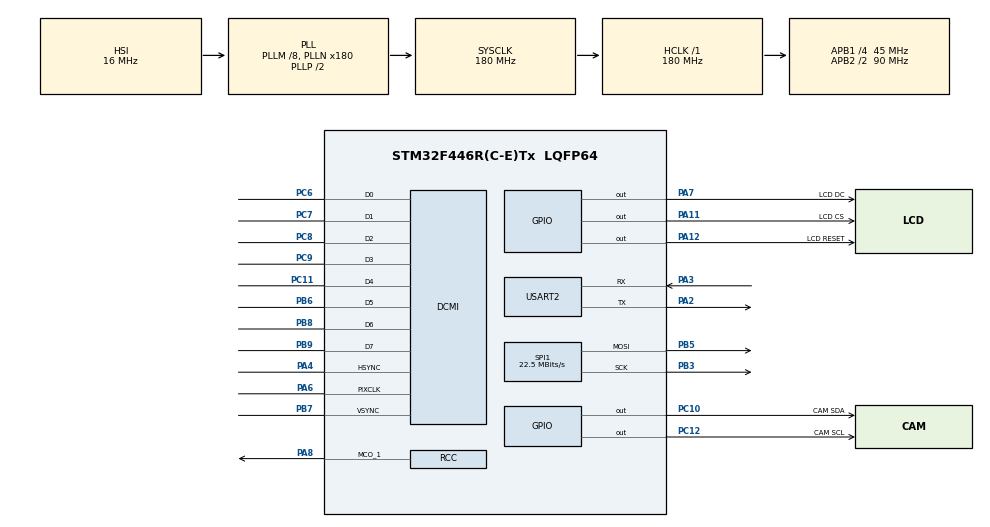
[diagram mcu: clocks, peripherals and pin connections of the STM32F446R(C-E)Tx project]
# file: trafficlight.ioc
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DCMI.HSPolarity=DCMI_HSPOLARITY_LOW
DCMI.PCKPolarity=DCMI_PCKPOLARITY_RISING
DCMI.VSPolarity=DCMI_VSPOLARITY_HIGH
Dma.DCMI.1.Direction=DMA_PERIPH_TO_MEMORY
Dma.DCMI.1.FIFOMode=DMA_FIFOMODE_DISABLE
Dma.DCMI.1.Instance=DMA2_Stream1
Dma.DCMI.1.MemDataAlignment=DMA_MDATAALIGN_WORD
Dma.DCMI.1.MemInc=DMA_MINC_ENABLE
Dma.DCMI.1.Mode=DMA_NORMAL
Dma.DCMI.1.PeriphDataAlignment=DMA_PDATAALIGN_WORD
Dma.DCMI.1.PeriphInc=DMA_PINC_DISABLE
Dma.DCMI.1.Priority=DMA_PRIORITY_HIGH
Dma.Request0=SPI1_TX
Dma.Request1=DCMI
Dma.SPI1_TX.0.Direction=DMA_MEMORY_TO_PERIPH
Dma.SPI1_TX.0.FIFOMode=DMA_FIFOMODE_DISABLE
Dma.SPI1_TX.0.Instance=DMA2_Stream3
Dma.SPI1_TX.0.MemDataAlignment=DMA_MDATAALIGN_BYTE
Dma.SPI1_TX.0.MemInc=DMA_MINC_ENABLE
Dma.SPI1_TX.0.Mode=DMA_NORMAL
Dma.SPI1_TX.0.PeriphDataAlignment=DMA_PDATAALIGN_BYTE
Dma.SPI1_TX.0.PeriphInc=DMA_PINC_DISABLE
Dma.SPI1_TX.0.Priority=DMA_PRIORITY_LOW
Mcu.Family=STM32F4
Mcu.Name=STM32F446R(C-E)Tx
Mcu.Package=LQFP64
NVIC.DCMI_IRQn=true\:0\:0\:false\:false\:true\:true\:true\:true
NVIC.DMA2_Stream1_IRQn=true\:0\:0\:false\:false\:true\:false\:true\:true
NVIC.DMA2_Stream3_IRQn=true\:0\:0\:false\:false\:true\:false\:true\:true
NVIC.PriorityGroup=NVIC_PRIORITYGROUP_4
NVIC.SPI1_IRQn=true\:0\:0\:false\:false\:true\:true\:true\:true
PA11.GPIO_Label=LCD CS
PA11.GPIO_Speed=GPIO_SPEED_FREQ_HIGH
PA11.PinState=GPIO_PIN_SET
PA11.Signal=GPIO_Output
PA12.GPIO_Label=LCD RESET
PA12.GPIO_Speed=GPIO_SPEED_FREQ_HIGH
PA12.PinState=GPIO_PIN_SET
PA12.Signal=GPIO_Output
PA13.Mode=Serial_Wire
PA13.Signal=SYS_JTMS-SWDIO
PA14.Mode=Serial_Wire
PA14.Signal=SYS_JTCK-SWCLK
PA2.Mode=Asynchronous
PA2.Signal=USART2_TX
PA3.Mode=Asynchronous
PA3.Signal=USART2_RX
PA4.Mode=Slave_8_bits_External_Synchro
PA4.Signal=DCMI_HSYNC
PA6.Mode=Slave_8_bits_External_Synchro
PA6.Signal=DCMI_PIXCLK
PA7.GPIO_Label=LCD DC
PA7.GPIO_Speed=GPIO_SPEED_FREQ_HIGH
PA7.PinState=GPIO_PIN_SET
PA7.Signal=GPIO_Output
PA8.GPIO_Speed=GPIO_SPEED_FREQ_VERY_HIGH
PA8.Mode=Clock-out-1
PA8.Signal=RCC_MCO_1
PB3.Mode=TX_Only_Simplex_Unidirect_Master
PB3.Signal=SPI1_SCK
PB5.Mode=TX_Only_Simplex_Unidirect_Master
PB5.Signal=SPI1_MOSI
PB6.Mode=Slave_8_bits_External_Synchro
PB6.Signal=DCMI_D5
PB7.Mode=Slave_8_bits_External_Synchro
PB7.Signal=DCMI_VSYNC
PB8.Mode=Slave_8_bits_External_Synchro
PB8.Signal=DCMI_D6
PB9.Mode=Slave_8_bits_External_Synchro
PB9.Signal=DCMI_D7
PC10.GPIO_Label=CAM SDA
PC10.GPIO_ModeDefaultOutputPP=GPIO_MODE_OUTPUT_OD
PC10.GPIO_PuPd=GPIO_PULLUP
PC10.GPIO_Speed=GPIO_SPEED_FREQ_HIGH
PC10.PinState=GPIO_PIN_SET
PC10.Signal=GPIO_Output
PC11.Mode=Slave_8_bits_External_Synchro
PC11.Signal=DCMI_D4
PC12.GPIO_Label=CAM SCL
PC12.GPIO_ModeDefaultOutputPP=GPIO_MODE_OUTPUT_PP
PC12.GPIO_PuPd=GPIO_PULLUP
PC12.GPIO_Speed=GPIO_SPEED_FREQ_HIGH
PC12.PinState=GPIO_PIN_SET
PC12.Signal=GPIO_Output
PC6.Mode=Slave_8_bits_External_Synchro
PC6.Signal=DCMI_D0
PC7.Mode=Slave_8_bits_External_Synchro
PC7.Signal=DCMI_D1
PC8.Mode=Slave_8_bits_External_Synchro
PC8.Signal=DCMI_D2
PC9.Mode=Slave_8_bits_External_Synchro
PC9.Signal=DCMI_D3
PH0-OSC_IN.Mode=HSE-External-Clock-Source
PH0-OSC_IN.Signal=RCC_OSC_IN
PH1-OSC_OUT.Mode=HSE-External-Clock-Source
PH1-OSC_OUT.Signal=RCC_OSC_OUT
ProjectManager.HeapSize=0x200
ProjectManager.StackSize=0x400
ProjectManager.TargetToolchain=STM32CubeIDE
RCC.AHBFreq_Value=180000000
RCC.APB1CLKDivider=RCC_HCLK_DIV4
RCC.APB1Freq_Value=45000000
RCC.APB1TimFreq_Value=90000000
RCC.APB2CLKDivider=RCC_HCLK_DIV2
RCC.APB2Freq_Value=90000000
RCC.APB2TimFreq_Value=180000000
RCC.CortexFreq_Value=180000000
RCC.HCLKFreq_Value=180000000
RCC.PLLM=8
RCC.PLLN=180
RCC.SYSCLKFreq_VALUE=180000000
RCC.SYSCLKSource=RCC_SYSCLKSOURCE_PLLCLK
RCC.USBFreq_Value=180000000
RCC.VCOOutputFreq_Value=360000000
SPI1.BaudRatePrescaler=SPI_BAUDRATEPRESCALER_4
SPI1.CalculateBaudRate=22.5 MBits/s
SPI1.Direction=SPI_DIRECTION_2LINES
SPI1.Mode=SPI_MODE_MASTER
SPI1.VirtualType=VM_MASTER
STMicroelectronics.X-CUBE-AI.10.2.0.ActivationBufferSizeList=29676
STMicroelectronics.X-CUBE-AI.10.2.0.ActivationBuffers=pool0
STMicroelectronics.X-CUBE-AI.10.2.0.ActivationNames=pool0
STMicroelectronics.X-CUBE-AI.10.2.0.ActivationSizes=AI_NETWORK_DATA_ACTIVATION_1_SIZE
STMicroelectronics.X-CUBE-AI.10.2.0.ApplicationCcDeviceJjApplication=ApplicationTemplate
STMicroelectronics.X-CUBE-AI.10.2.0.HeapSize=0x800
STMicroelectronics.X-CUBE-AI.10.2.0.InternalRamActivationBufferMaxSize=AI_NETWORK_DATA_ACTIVATIONS_SIZE
STMicroelectronics.X-CUBE-AI.10.2.0.LatestDirectoryUsed-4485f11a7c7d418da0951133ddff1e88fbf72ac43adda4fc415b44abdd06dac7=C\:\\Users\\jonah\\Downloads
STMicroelectronics.X-CUBE-AI.10.2.0.MaximumNumberOfInputLayer=1
STMicroelectronics.X-CUBE-AI.10.2.0.MaximumNumberOfOutputLayer=1
STMicroelectronics.X-CUBE-AI.10.2.0.MaximumSizeOfInputLayer=1
STMicroelectronics.X-CUBE-AI.10.2.0.MaximumSizeOfOutputLayer=1
STMicroelectronics.X-CUBE-AI.10.2.0.ModelActualCompression-4485f11a7c7d418da0951133ddff1e88fbf72ac43adda4fc415b44abdd06dac7=0.0
STMicroelectronics.X-CUBE-AI.10.2.0.ModelCompression-4485f11a7c7d418da0951133ddff1e88fbf72ac43adda4fc415b44abdd06dac7=None
STMicroelectronics.X-CUBE-AI.10.2.0.ModelFlashOccupation-4485f11a7c7d418da0951133ddff1e88fbf72ac43adda4fc415b44abdd06dac7=187105
STMicroelectronics.X-CUBE-AI.10.2.0.ModelHashList=4485f11a7c7d418da0951133ddff1e88fbf72ac43adda4fc415b44abdd06dac7
STMicroelectronics.X-CUBE-AI.10.2.0.ModelKind-4485f11a7c7d418da0951133ddff1e88fbf72ac43adda4fc415b44abdd06dac7=TFLITE
STMicroelectronics.X-CUBE-AI.10.2.0.ModelMacc-4485f11a7c7d418da0951133ddff1e88fbf72ac43adda4fc415b44abdd06dac7=7905448
STMicroelectronics.X-CUBE-AI.10.2.0.ModelName-4485f11a7c7d418da0951133ddff1e88fbf72ac43adda4fc415b44abdd06dac7=network
STMicroelectronics.X-CUBE-AI.10.2.0.ModelNameList=network
STMicroelectronics.X-CUBE-AI.10.2.0.ModelRamOccupation-4485f11a7c7d418da0951133ddff1e88fbf72ac43adda4fc415b44abdd06dac7=29676
STMicroelectronics.X-CUBE-AI.10.2.0.ModelStructureFile-4485f11a7c7d418da0951133ddff1e88fbf72ac43adda4fc415b44abdd06dac7=C\:\\Users\\jonah\\Downloads\\sign_v2_int8.tflite
STMicroelectronics.X-CUBE-AI.10.2.0.ModelType-4485f11a7c7d418da0951133ddff1e88fbf72ac43adda4fc415b44abdd06dac7=STM32Cube.AI MCU runtime
STMicroelectronics.X-CUBE-AI.10.2.0.ReadyForCodeGeneration=true
STMicroelectronics.X-CUBE-AI.10.2.0.StackSize=0x800
STMicroelectronics.X-CUBE-AI.10.2.0.WorkingBufferStartAddrList=0xFFFFFFFF
STMicroelectronics.X-CUBE-AI.10.2.0.XAaCUBEAaAICcArtificialOoIntelligenceJjCore=true
STMicroelectronics.X-CUBE-AI.10.2.0.copyWeightToRam-4485f11a7c7d418da0951133ddff1e88fbf72ac43adda4fc415b44abdd06dac7=false
STMicroelectronics.X-CUBE-AI.10.2.0.customLayerConfigEnabled-4485f11a7c7d418da0951133ddff1e88fbf72ac43adda4fc415b44abdd06dac7=false
STMicroelectronics.X-CUBE-AI.10.2.0.noOnnxIoTranspose-4485f11a7c7d418da0951133ddff1e88fbf72ac43adda4fc415b44abdd06dac7=false
STMicroelectronics.X-CUBE-AI.10.2.0.useInputAllocation-4485f11a7c7d418da0951133ddff1e88fbf72ac43adda4fc415b44abdd06dac7=true
STMicroelectronics.X-CUBE-AI.10.2.0.useOutputAllocation-4485f11a7c7d418da0951133ddff1e88fbf72ac43adda4fc415b44abdd06dac7=true
USART2.VirtualMode=VM_ASYNC
VP_CRC_VS_CRC.Mode=CRC_Activate
VP_STMicroelectronics.X-CUBE-AI_VS_ArtificialOoIntelligenceJjXAaCUBEAaAI_10.2.0.Mode=ArtificialOoIntelligenceJjXAaCUBEAaAI
VP_STMicroelectronics.X-CUBE-AI_VS_DeviceJjApplication_10.2.0.Mode=DeviceJjApplication
board=custom

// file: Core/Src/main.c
/* USER CODE BEGIN Header */
/**
  ******************************************************************************
  * @file           : main.c
  * @brief          : Real-Time Embedded Traffic Sign Recognition Pipeline
  *                   (STM32F446RE + OV7670 DCMI/DMA + X-CUBE-AI INT8 + ST7735)
  ******************************************************************************
  * @attention
  *
  * Copyright (c) 2026 STMicroelectronics.
  * All rights reserved.
  *
  * This software is licensed under terms that can be found in the LICENSE file
  * in the root directory of this software component.
  * If no LICENSE file comes with this software, it is provided AS-IS.
  *
  ******************************************************************************
  */
/* USER CODE END Header */
#include "main.h"
#include "app_x-cube-ai.h"

/* USER CODE BEGIN Includes */
#include <stdio.h>
#include "sccb.h"
#include "ov7670.h"
#include "st7735.h"
#include "network.h"
#include "network_data.h"
/* USER CODE END Includes */

/* USER CODE BEGIN PD */
#define CAM_W               128
#define CAM_H               120
#define CAM_FRAME_WORDS     ((CAM_W * CAM_H * 2) / 4) /* 7,680 32-bit words (30,720 bytes) */

#define ROI_X_OFFSET        16
#define ROI_Y_OFFSET        12
#define ROI_SIZE            96

#define MODEL_IMG_W         48
#define MODEL_IMG_H         48
/* USER CODE END PD */

CRC_HandleTypeDef hcrc;

DCMI_HandleTypeDef hdcmi;
DMA_HandleTypeDef hdma_dcmi;

SPI_HandleTypeDef hspi1;
DMA_HandleTypeDef hdma_spi1_tx;

UART_HandleTypeDef huart2;

/* USER CODE BEGIN PV */
/* 128x120 RGB565 frame buffer (30,720 bytes) */
uint32_t frame_buffer[CAM_FRAME_WORDS];

/* X-CUBE-AI aligned activation scratchpad and I/O tensor buffers */
static ai_handle gtsrb_network = AI_HANDLE_NULL;
AI_ALIGNED(32) static ai_u8 ai_activations[AI_NETWORK_DATA_ACTIVATIONS_SIZE];
AI_ALIGNED(32) static ai_u8 ai_in_data[AI_NETWORK_IN_1_SIZE_BYTES];
AI_ALIGNED(32) static ai_u8 ai_out_data[AI_NETWORK_OUT_1_SIZE_BYTES];

static ai_buffer ai_input_buf[1];
static ai_buffer ai_output_buf[1];

/* Dedicated 128x20 RGB565 buffer for the top UI banner (5,120 bytes) */
static uint8_t banner_buf[128 * 20 * 2];
/* USER CODE END PV */

void SystemClock_Config(void);
static void MX_GPIO_Init(void);
static void MX_DMA_Init(void);
static void MX_SPI1_Init(void);
static void MX_USART2_UART_Init(void);
static void MX_DCMI_Init(void);
static void MX_CRC_Init(void);
/* USER CODE BEGIN PFP */
const char* GTSRB_GetLabel(int class_id);
void GTSRB_AI_Init(void);
void GTSRB_Preprocess_Frame(const uint16_t *src_rgb565);
int  GTSRB_Run_Inference(int *out_confidence);
void LCD_Draw_ROI_Box(uint8_t *fb_bytes);
void LCD_Draw_Sign_Banner(int class_id, int confidence);
/* USER CODE END PFP */

/* USER CODE BEGIN 0 */

/* Compact 5x7 ASCII bitmap font (printable characters 32 ' ' to 90 'Z') */
static const uint8_t font5x7[][5] = {
    {0x00,0x00,0x00,0x00,0x00}, {0x00,0x00,0x5F,0x00,0x00}, {0x00,0x07,0x00,0x07,0x00},
    {0x14,0x7F,0x14,0x7F,0x14}, {0x24,0x2A,0x7F,0x2A,0x12}, {0x23,0x13,0x08,0x64,0x62},
    {0x36,0x49,0x55,0x22,0x50}, {0x00,0x05,0x03,0x00,0x00}, {0x00,0x1C,0x22,0x41,0x00},
    {0x00,0x41,0x22,0x1C,0x00}, {0x14,0x08,0x3E,0x08,0x14}, {0x08,0x08,0x3E,0x08,0x08},
    {0x00,0x50,0x30,0x00,0x00}, {0x08,0x08,0x08,0x08,0x08}, {0x00,0x60,0x60,0x00,0x00},
    {0x20,0x10,0x08,0x04,0x02}, {0x3E,0x51,0x49,0x45,0x3E}, {0x00,0x42,0x7F,0x40,0x00},
    {0x42,0x61,0x51,0x49,0x46}, {0x21,0x41,0x45,0x4B,0x31}, {0x18,0x14,0x12,0x7F,0x10},
    {0x27,0x45,0x45,0x45,0x39}, {0x3C,0x4A,0x49,0x49,0x30}, {0x01,0x71,0x09,0x05,0x03},
    {0x36,0x49,0x49,0x49,0x36}, {0x06,0x49,0x49,0x29,0x1E}, {0x00,0x36,0x36,0x00,0x00},
    {0x00,0x56,0x36,0x00,0x00}, {0x08,0x14,0x22,0x41,0x00}, {0x14,0x14,0x14,0x14,0x14},
    {0x00,0x41,0x22,0x14,0x08}, {0x02,0x01,0x51,0x09,0x06}, {0x32,0x49,0x79,0x41,0x3E},
    {0x7E,0x11,0x11,0x11,0x7E}, {0x7F,0x49,0x49,0x49,0x36}, {0x3E,0x41,0x41,0x41,0x22},
    {0x7F,0x41,0x41,0x22,0x1C}, {0x7F,0x49,0x49,0x49,0x41}, {0x7F,0x09,0x09,0x09,0x01},
    {0x3E,0x41,0x49,0x49,0x7A}, {0x7F,0x08,0x08,0x08,0x7F}, {0x00,0x41,0x7F,0x41,0x00},
    {0x20,0x40,0x41,0x3F,0x01}, {0x7F,0x08,0x14,0x22,0x41}, {0x7F,0x40,0x40,0x40,0x40},
    {0x7F,0x02,0x0C,0x02,0x7F}, {0x7F,0x04,0x08,0x10,0x7F}, {0x3E,0x41,0x41,0x41,0x3E},
    {0x7F,0x09,0x09,0x09,0x06}, {0x3E,0x41,0x51,0x21,0x5E}, {0x7F,0x09,0x19,0x29,0x46},
    {0x46,0x49,0x49,0x49,0x31}, {0x01,0x01,0x7F,0x01,0x01}, {0x3F,0x40,0x40,0x40,0x3F},
    {0x1F,0x20,0x40,0x20,0x1F}, {0x3F,0x40,0x38,0x40,0x3F}, {0x63,0x14,0x08,0x14,0x63},
    {0x07,0x08,0x70,0x08,0x07}, {0x61,0x51,0x49,0x45,0x43}
};

/**
 * @brief Maps GTSRB class indices (0..42) to human-readable traffic sign labels.
 */
const char* GTSRB_GetLabel(int class_id) {
    static const char* labels[43] = {
        "20 km/h", "30 km/h", "50 km/h", "60 km/h", "70 km/h",
        "80 km/h", "End 80", "100 km/h", "120 km/h", "No Passing",
        "No Pass >3.5t", "Right of Way", "Priority Road", "Yield", "STOP",
        "No Vehicles", "No >3.5t", "No Entry", "General Caution", "Curve Left",
        "Curve Right", "Double Curve", "Bumpy Road", "Slippery Road", "Road Narrows",
        "Road Work", "Traffic Signals", "Pedestrians", "Children", "Bicycles",
        "Beware Ice/Snow", "Wild Animals", "End Limits", "Turn Right", "Turn Left",
        "Ahead Only", "Straight/Right", "Straight/Left", "Keep Right", "Keep Left",
        "Roundabout", "End No Passing", "End No Pass >3.5t"
    };
    if (class_id >= 0 && class_id < 43) {
        return labels[class_id];
    }
    return "Unknown";
}

/**
 * @brief Initializes the quantized INT8 CNN in X-CUBE-AI and binds I/O tensor buffers.
 */
void GTSRB_AI_Init(void) {
    __HAL_RCC_CRC_CLK_ENABLE();

    const ai_handle act_addr[] = { ai_activations };
    ai_error err = ai_network_create_and_init(&gtsrb_network, act_addr, NULL);
    if (err.type != AI_ERROR_NONE) {
        printf("AI Init Error: type=%d, code=%d\r\n", err.type, err.code);
        return;
    }

    const ai_buffer *in_desc  = ai_network_inputs_get(gtsrb_network, NULL);
    const ai_buffer *out_desc = ai_network_outputs_get(gtsrb_network, NULL);
    ai_input_buf[0]  = in_desc[0];
    ai_output_buf[0] = out_desc[0];

    ai_input_buf[0].data  = AI_HANDLE_PTR(ai_in_data);
    ai_output_buf[0].data = AI_HANDLE_PTR(ai_out_data);
}

/**
 * @brief Downsamples the centered 96x96 RGB565 ROI to 48x48 RGB888 using a 2x2
 *        box filter and quantizes pixels to signed INT8 [-128, 127].
 */
void GTSRB_Preprocess_Frame(const uint16_t *src_rgb565) {
    int8_t *dst_i8 = (int8_t *)ai_in_data;
    uint32_t idx = 0;

    for (int y = 0; y < MODEL_IMG_H; y++) {
        int sy = ROI_Y_OFFSET + (y * 2);
        for (int x = 0; x < MODEL_IMG_W; x++) {
            int sx = ROI_X_OFFSET + (x * 2);

            uint32_t sr = 0, sg = 0, sb = 0;
            for (int dy = 0; dy < 2; dy++) {
                for (int dx = 0; dx < 2; dx++) {
                    const uint8_t *p = (const uint8_t *)&src_rgb565[(sy + dy) * CAM_W + (sx + dx)];
                    uint16_t pix = ((uint16_t)p[0] << 8) | p[1];

                    sr += ((pix >> 11) & 0x1F) << 3;
                    sg += ((pix >> 5)  & 0x3F) << 2;
                    sb += ( pix        & 0x1F) << 3;
                }
            }

            int r = (int)(sr >> 2);
            int g = (int)(sg >> 2);
            int b = (int)(sb >> 2);

            dst_i8[idx++] = (int8_t)(r - 128);
            dst_i8[idx++] = (int8_t)(g - 128);
            dst_i8[idx++] = (int8_t)(b - 128);
        }
    }
}

/**
 * @brief Executes forward pass and returns predicted class index and confidence (0..100%).
 */
int GTSRB_Run_Inference(int *out_confidence) {
    ai_i32 batch = ai_network_run(gtsrb_network, &ai_input_buf[0], &ai_output_buf[0]);
    if (batch != 1) {
        ai_error err = ai_network_get_error(gtsrb_network);
        printf("AI Run Error: code=%d, type=%d\r\n", err.code, err.type);
        return -1;
    }

    const int8_t *out = (const int8_t *)ai_out_data;
    uint32_t best = 0;
    for (uint32_t i = 1; i < AI_NETWORK_OUT_1_SIZE; i++) {
        if (out[i] > out[best]) {
            best = i;
        }
    }

    const ai_buffer_meta_info *mi = ai_output_buf[0].meta_info;
    float scale = AI_BUFFER_META_INFO_INTQ_GET_SCALE(mi, 0);
    int zp      = AI_BUFFER_META_INFO_INTQ_GET_ZEROPOINT(mi, 0);

    float prob = ((int)out[best] - zp) * scale;
    int conf   = (int)(prob * 100.0f);
    if (conf < 0)   conf = 0;
    if (conf > 100) conf = 100;

    *out_confidence = conf;
    return (int)best;
}

/**
 * @brief Draws a 1-pixel green targeting box around the 96x96 ROI on the LCD frame.
 */
void LCD_Draw_ROI_Box(uint8_t *fb_bytes) {
    const int x0 = ROI_X_OFFSET;
    const int x1 = ROI_X_OFFSET + ROI_SIZE - 1;
    const int y0 = ROI_Y_OFFSET;
    const int y1 = ROI_Y_OFFSET + ROI_SIZE - 1;

    for (int x = x0; x <= x1; x++) {
        fb_bytes[(y0 * CAM_W + x) * 2]     = 0x07;
        fb_bytes[(y0 * CAM_W + x) * 2 + 1] = 0xE0;
        fb_bytes[(y1 * CAM_W + x) * 2]     = 0x07;
        fb_bytes[(y1 * CAM_W + x) * 2 + 1] = 0xE0;
    }
    for (int y = y0; y <= y1; y++) {
        fb_bytes[(y * CAM_W + x0) * 2]     = 0x07;
        fb_bytes[(y * CAM_W + x0) * 2 + 1] = 0xE0;
        fb_bytes[(y * CAM_W + x1) * 2]     = 0x07;
        fb_bytes[(y * CAM_W + x1) * 2 + 1] = 0xE0;
    }
}

/**
 * @brief Renders the classification label and confidence into the top 128x20 LCD bar.
 */
void LCD_Draw_Sign_Banner(int class_id, int confidence) {
    char text[24];
    uint16_t bg_color = 0x0000;
    uint16_t fg_color = 0xFFFF;

    if (class_id >= 0 && confidence >= 50) {
        snprintf(text, sizeof(text), "%s %d%%", GTSRB_GetLabel(class_id), confidence);
        bg_color = (confidence >= 75) ? 0x0320 : 0x4200;
        fg_color = 0xFFFF;
    } else {
        snprintf(text, sizeof(text), "SCANNING...");
        bg_color = 0x0000;
        fg_color = 0x07E0;
    }

    uint8_t bg_hi = (uint8_t)(bg_color >> 8), bg_lo = (uint8_t)(bg_color & 0xFF);
    uint8_t fg_hi = (uint8_t)(fg_color >> 8), fg_lo = (uint8_t)(fg_color & 0xFF);

    for (int i = 0; i < 128 * 20; i++) {
        banner_buf[i * 2]     = bg_hi;
        banner_buf[i * 2 + 1] = bg_lo;
    }

    int cursor_x = 4;
    const int start_y = 6;

    for (int i = 0; text[i] != '\0' && (cursor_x + 6) < 128; i++) {
        char c = text[i];
        if (c >= 'a' && c <= 'z') c -= 32;
        if (c < 32 || c > 90) c = ' ';

        const uint8_t *glyph = font5x7[c - 32];
        for (int col = 0; col < 5; col++) {
            uint8_t bits = glyph[col];
            for (int row = 0; row < 7; row++) {
                if (bits & (1 << row)) {
                    int px = (start_y + row) * 128 + (cursor_x + col);
                    banner_buf[px * 2]     = fg_hi;
                    banner_buf[px * 2 + 1] = fg_lo;
                }
            }
        }
        cursor_x += 6;
    }

    ST7735_DrawBufferDMA(0, 0, 128, 20, banner_buf);
    uint32_t t0 = HAL_GetTick();
    while (ST7735_IsBusy()) {
        if ((HAL_GetTick() - t0) > 50) break;
    }
}

#ifdef __GNUC__
  #define PUTCHAR_PROTOTYPE int __io_putchar(int ch)
#else
  #define PUTCHAR_PROTOTYPE int fputc(int ch, FILE *f)
#endif

PUTCHAR_PROTOTYPE {
    HAL_UART_Transmit(&huart2, (uint8_t *)&ch, 1, 0xFFFF);
    return ch;
}

/* USER CODE END 0 */

int main(void)
{

  /* MCU Configuration--------------------------------------------------------*/

  /* Reset of all peripherals, Initializes the Flash interface and the Systick. */
  HAL_Init();

  /* Configure the system clock */
  SystemClock_Config();

  /* Initialize all configured peripherals */
  MX_GPIO_Init();
  MX_DMA_Init();
  MX_SPI1_Init();
  MX_USART2_UART_Init();
  MX_DCMI_Init();
  MX_CRC_Init();

  /* USER CODE BEGIN 2 */
  /* Enforce DCMI Synchronization Polarities */
  hdcmi.Init.VSPolarity  = DCMI_VSPOLARITY_HIGH;
  hdcmi.Init.HSPolarity  = DCMI_HSPOLARITY_LOW;
  hdcmi.Init.PCKPolarity = DCMI_PCKPOLARITY_RISING;
  HAL_DCMI_Init(&hdcmi);

  /* Set DCMI DMA2 Stream1 to VERY_HIGH priority to prevent AHB overrun against SPI1 */
  HAL_DMA_DeInit(&hdma_dcmi);
  hdma_dcmi.Init.Mode                = DMA_NORMAL;
  hdma_dcmi.Init.Priority            = DMA_PRIORITY_VERY_HIGH;
  hdma_dcmi.Init.FIFOMode            = DMA_FIFOMODE_DISABLE;
  hdma_dcmi.Init.MemDataAlignment    = DMA_MDATAALIGN_WORD;
  hdma_dcmi.Init.PeriphDataAlignment = DMA_PDATAALIGN_WORD;
  HAL_DMA_Init(&hdma_dcmi);

  ST7735_Init();
  SCCB_Init();
  OV7670_Init();

  /* Hardware crop 160x120 QQVGA stream to 128x120 RGB565 (256 bytes/line) */
  HAL_DCMI_ConfigCrop(&hdcmi, 32, 0, 255, 119);
  HAL_DCMI_EnableCrop(&hdcmi);

  GTSRB_AI_Init();
  /* USER CODE END 2 */

  /* Infinite loop */
  /* USER CODE BEGIN WHILE */
  while (1)
  {
      /* 1. Capture single 128x120 RGB565 frame via DCMI DMA */
      HAL_DCMI_Stop(&hdcmi);
      __HAL_DCMI_CLEAR_FLAG(&hdcmi, DCMI_FLAG_FRAMERI | DCMI_FLAG_OVRRI |
                                    DCMI_FLAG_ERRRI   | DCMI_FLAG_VSYNCRI |
                                    DCMI_FLAG_LINERI);

      HAL_DCMI_Start_DMA(&hdcmi, DCMI_MODE_SNAPSHOT, (uint32_t)frame_buffer, CAM_FRAME_WORDS);

      uint32_t tickstart = HAL_GetTick();
      while (hdma_dcmi.Instance->NDTR > 0) {
          if ((HAL_GetTick() - tickstart) > 500) {
              break;
          }
      }
      HAL_DCMI_Stop(&hdcmi);

      /* 2. Preprocess 96x96 ROI into 48x48x3 INT8 input tensor before drawing UI overlay */
      GTSRB_Preprocess_Frame((const uint16_t *)frame_buffer);

      /* 3. Draw ROI targeting overlay and stream video buffer to ST7735 via SPI1 DMA */
      LCD_Draw_ROI_Box((uint8_t *)frame_buffer);
      ST7735_DrawBufferDMA(0, 20, CAM_W, CAM_H, (uint8_t *)frame_buffer);

      uint32_t spi_tick = HAL_GetTick();
      while (ST7735_IsBusy()) {
          if ((HAL_GetTick() - spi_tick) > 200) {
              break;
          }
      }

      /* 4. Execute CNN inference and update top LCD banner + UART telemetry */
      int confidence = 0;
      uint32_t t0 = HAL_GetTick();
      int class_id = GTSRB_Run_Inference(&confidence);
      uint32_t dt = HAL_GetTick() - t0;

      printf("Sign: [%2d] %-16s | Conf: %3d%% | Time: %lu ms\r\n",
             class_id, GTSRB_GetLabel(class_id), confidence, dt);

      LCD_Draw_Sign_Banner(class_id, confidence);
    /* USER CODE END WHILE */

  }
}

void SystemClock_Config(void)
{
  RCC_OscInitTypeDef RCC_OscInitStruct = {0};
  RCC_ClkInitTypeDef RCC_ClkInitStruct = {0};

  /** Configure the main internal regulator output voltage
  */
  __HAL_RCC_PWR_CLK_ENABLE();
  __HAL_PWR_VOLTAGESCALING_CONFIG(PWR_REGULATOR_VOLTAGE_SCALE1);

  /** Initializes the RCC Oscillators according to the specified parameters
  * in the RCC_OscInitTypeDef structure.
  */
  RCC_OscInitStruct.OscillatorType = RCC_OSCILLATORTYPE_HSI;
  RCC_OscInitStruct.HSIState = RCC_HSI_ON;
  RCC_OscInitStruct.HSICalibrationValue = RCC_HSICALIBRATION_DEFAULT;
  RCC_OscInitStruct.PLL.PLLState = RCC_PLL_ON;
  RCC_OscInitStruct.PLL.PLLSource = RCC_PLLSOURCE_HSI;
  RCC_OscInitStruct.PLL.PLLM = 8;
  RCC_OscInitStruct.PLL.PLLN = 180;
  RCC_OscInitStruct.PLL.PLLP = RCC_PLLP_DIV2;
  RCC_OscInitStruct.PLL.PLLQ = 2;
  RCC_OscInitStruct.PLL.PLLR = 2;
  if (HAL_RCC_OscConfig(&RCC_OscInitStruct) != HAL_OK)
  {
    Error_Handler();
  }

  /** Activate the Over-Drive mode
  */
  if (HAL_PWREx_EnableOverDrive() != HAL_OK)
  {
    Error_Handler();
  }

  /** Initializes the CPU, AHB and APB buses clocks
  */
  RCC_ClkInitStruct.ClockType = RCC_CLOCKTYPE_HCLK|RCC_CLOCKTYPE_SYSCLK
                              |RCC_CLOCKTYPE_PCLK1|RCC_CLOCKTYPE_PCLK2;
  RCC_ClkInitStruct.SYSCLKSource = RCC_SYSCLKSOURCE_PLLCLK;
  RCC_ClkInitStruct.AHBCLKDivider = RCC_SYSCLK_DIV1;
  RCC_ClkInitStruct.APB1CLKDivider = RCC_HCLK_DIV4;
  RCC_ClkInitStruct.APB2CLKDivider = RCC_HCLK_DIV2;

  if (HAL_RCC_ClockConfig(&RCC_ClkInitStruct, FLASH_LATENCY_5) != HAL_OK)
  {
    Error_Handler();
  }
  HAL_RCC_MCOConfig(RCC_MCO1, RCC_MCO1SOURCE_HSI, RCC_MCODIV_1);
}

static void MX_CRC_Init(void)
{

  hcrc.Instance = CRC;
  if (HAL_CRC_Init(&hcrc) != HAL_OK)
  {
    Error_Handler();
  }

}

static void MX_DCMI_Init(void)
{

  hdcmi.Instance = DCMI;
  hdcmi.Init.SynchroMode = DCMI_SYNCHRO_HARDWARE;
  hdcmi.Init.PCKPolarity = DCMI_PCKPOLARITY_RISING;
  hdcmi.Init.VSPolarity = DCMI_VSPOLARITY_HIGH;
  hdcmi.Init.HSPolarity = DCMI_HSPOLARITY_LOW;
  hdcmi.Init.CaptureRate = DCMI_CR_ALL_FRAME;
  hdcmi.Init.ExtendedDataMode = DCMI_EXTEND_DATA_8B;
  hdcmi.Init.JPEGMode = DCMI_JPEG_DISABLE;
  hdcmi.Init.ByteSelectMode = DCMI_BSM_ALL;
  hdcmi.Init.ByteSelectStart = DCMI_OEBS_ODD;
  hdcmi.Init.LineSelectMode = DCMI_LSM_ALL;
  hdcmi.Init.LineSelectStart = DCMI_OELS_ODD;
  if (HAL_DCMI_Init(&hdcmi) != HAL_OK)
  {
    Error_Handler();
  }

}

static void MX_SPI1_Init(void)
{

  /* SPI1 parameter configuration*/
  hspi1.Instance = SPI1;
  hspi1.Init.Mode = SPI_MODE_MASTER;
  hspi1.Init.Direction = SPI_DIRECTION_2LINES;
  hspi1.Init.DataSize = SPI_DATASIZE_8BIT;
  hspi1.Init.CLKPolarity = SPI_POLARITY_LOW;
  hspi1.Init.CLKPhase = SPI_PHASE_1EDGE;
  hspi1.Init.NSS = SPI_NSS_SOFT;
  hspi1.Init.BaudRatePrescaler = SPI_BAUDRATEPRESCALER_4;
  hspi1.Init.FirstBit = SPI_FIRSTBIT_MSB;
  hspi1.Init.TIMode = SPI_TIMODE_DISABLE;
  hspi1.Init.CRCCalculation = SPI_CRCCALCULATION_DISABLE;
  hspi1.Init.CRCPolynomial = 10;
  if (HAL_SPI_Init(&hspi1) != HAL_OK)
  {
    Error_Handler();
  }

}

static void MX_USART2_UART_Init(void)
{

  huart2.Instance = USART2;
  huart2.Init.BaudRate = 115200;
  huart2.Init.WordLength = UART_WORDLENGTH_8B;
  huart2.Init.StopBits = UART_STOPBITS_1;
  huart2.Init.Parity = UART_PARITY_NONE;
  huart2.Init.Mode = UART_MODE_TX_RX;
  huart2.Init.HwFlowCtl = UART_HWCONTROL_NONE;
  huart2.Init.OverSampling = UART_OVERSAMPLING_16;
  if (HAL_UART_Init(&huart2) != HAL_OK)
  {
    Error_Handler();
  }

}

static void MX_DMA_Init(void)
{

  /* DMA controller clock enable */
  __HAL_RCC_DMA2_CLK_ENABLE();

  /* DMA interrupt init */
  /* DMA2_Stream1_IRQn interrupt configuration */
  HAL_NVIC_SetPriority(DMA2_Stream1_IRQn, 0, 0);
  HAL_NVIC_EnableIRQ(DMA2_Stream1_IRQn);
  /* DMA2_Stream3_IRQn interrupt configuration */
  HAL_NVIC_SetPriority(DMA2_Stream3_IRQn, 0, 0);
  HAL_NVIC_EnableIRQ(DMA2_Stream3_IRQn);

}

static void MX_GPIO_Init(void)
{
  GPIO_InitTypeDef GPIO_InitStruct = {0};

  /* GPIO Ports Clock Enable */
  __HAL_RCC_GPIOH_CLK_ENABLE();
  __HAL_RCC_GPIOA_CLK_ENABLE();
  __HAL_RCC_GPIOC_CLK_ENABLE();
  __HAL_RCC_GPIOB_CLK_ENABLE();

  /*Configure GPIO pin Output Level */
  HAL_GPIO_WritePin(GPIOA, LCD_DC_Pin|LCD_CS_Pin|LCD_RESET_Pin, GPIO_PIN_SET);

  /*Configure GPIO pin Output Level */
  HAL_GPIO_WritePin(GPIOC, CAM_SDA_Pin|CAM_SCL_Pin, GPIO_PIN_SET);

  /*Configure GPIO pins : LCD_DC_Pin LCD_CS_Pin LCD_RESET_Pin */
  GPIO_InitStruct.Pin = LCD_DC_Pin|LCD_CS_Pin|LCD_RESET_Pin;
  GPIO_InitStruct.Mode = GPIO_MODE_OUTPUT_PP;
  GPIO_InitStruct.Pull = GPIO_NOPULL;
  GPIO_InitStruct.Speed = GPIO_SPEED_FREQ_HIGH;
  HAL_GPIO_Init(GPIOA, &GPIO_InitStruct);

  /*Configure GPIO pin : PA8 */
  GPIO_InitStruct.Pin = GPIO_PIN_8;
  GPIO_InitStruct.Mode = GPIO_MODE_AF_PP;
  GPIO_InitStruct.Pull = GPIO_NOPULL;
  GPIO_InitStruct.Speed = GPIO_SPEED_FREQ_VERY_HIGH;
  GPIO_InitStruct.Alternate = GPIO_AF0_MCO;
  HAL_GPIO_Init(GPIOA, &GPIO_InitStruct);

  /*Configure GPIO pin : CAM_SDA_Pin */
  GPIO_InitStruct.Pin = CAM_SDA_Pin;
  GPIO_InitStruct.Mode = GPIO_MODE_OUTPUT_OD;
  GPIO_InitStruct.Pull = GPIO_PULLUP;
  GPIO_InitStruct.Speed = GPIO_SPEED_FREQ_HIGH;
  HAL_GPIO_Init(CAM_SDA_GPIO_Port, &GPIO_InitStruct);

  /*Configure GPIO pin : CAM_SCL_Pin */
  GPIO_InitStruct.Pin = CAM_SCL_Pin;
  GPIO_InitStruct.Mode = GPIO_MODE_OUTPUT_PP;
  GPIO_InitStruct.Pull = GPIO_PULLUP;
  GPIO_InitStruct.Speed = GPIO_SPEED_FREQ_HIGH;
  HAL_GPIO_Init(CAM_SCL_GPIO_Port, &GPIO_InitStruct);

}

void Error_Handler(void)
{
  __disable_irq();
  while (1)
  {
  }
}
